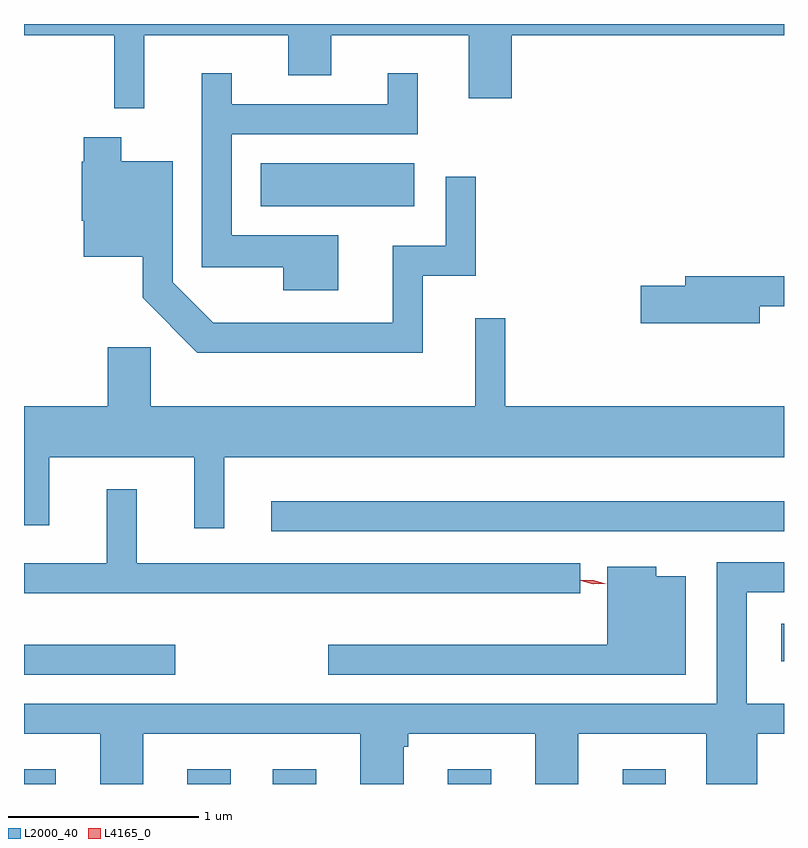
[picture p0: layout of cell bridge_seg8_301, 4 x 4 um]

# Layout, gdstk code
import gdstk
lib = gdstk.Library(unit=1e-6, precision=1e-09)
def R(c, l, rs):  # rectangles x0, y0, x1, y1
    for r in rs: c.add(gdstk.rectangle(r[:2], r[2:], *l))
def A(c, l, x, y, w, h, nx, ny, dx, dy):  # array of equal rectangles
    R(c, l, [(x+i*dx, y+j*dy, x+i*dx+w, y+j*dy+h) for i in range(nx) for j in range(ny)])
def P(c, l, *ps):  # polygons
    for p in ps: c.add(gdstk.Polygon(p, *l))
L2000_40 = (2000, 40)
L4165_0 = (4165, 0)

bridge_seg8_301 = lib.new_cell('bridge_seg8_301')
A(bridge_seg8_301, L2000_40, 1321.851, 1867.996, 0.228, 0.078, 3, 1, 0.92, 0)
R(bridge_seg8_301, L2000_40, [(1320.541,1867.996,1320.709,1868.074), (1321.401,1867.996,1321.629,1868.074), (1320.541,1868.571,1321.338,1868.729), (1324.526,1868.641,1324.541,1868.839), (1321.843,1869.326,1324.541,1869.484), (1321.786,1871.036,1322.594,1871.264)])
P(bridge_seg8_301, L2000_40, [(1321.174,1871.936),(1321.931,1871.936),(1321.931,1871.726),(1322.159,1871.726),(1322.159,1871.936),(1322.881,1871.936),(1322.881,1871.606),(1323.109,1871.606),(1323.109,1871.936),(1324.541,1871.936),(1324.541,1871.996),(1320.541,1871.996),(1320.541,1871.936),(1321.016,1871.936),(1321.016,1871.553),(1321.174,1871.553)],
  [(1322.194,1870.884),(1321.634,1870.884),(1321.634,1871.416),(1322.614,1871.416),(1322.614,1871.738),(1322.456,1871.738),(1322.456,1871.574),(1321.634,1871.574),(1321.634,1871.738),(1321.476,1871.738),(1321.476,1870.716),(1321.906,1870.716),(1321.906,1870.596),(1322.194,1870.596)],
  [(1322.639,1870.671),(1322.919,1870.671),(1322.919,1871.193),(1322.761,1871.193),(1322.761,1870.829),(1322.481,1870.829),(1322.481,1870.424),(1321.537,1870.424),(1321.324,1870.637),(1321.324,1871.274),(1321.054,1871.274),(1321.054,1871.399),(1320.856,1871.399),(1320.856,1871.27),(1320.846,1871.27),(1320.846,1870.96),(1320.856,1870.96),(1320.856,1870.771),(1321.166,1870.771),(1321.166,1870.554),(1321.454,1870.266),(1322.639,1870.266)],
  [(1324.414,1870.511),(1324.541,1870.511),(1324.541,1870.669),(1324.021,1870.669),(1324.021,1870.619),(1323.786,1870.619),(1323.786,1870.421),(1324.414,1870.421)],
  [(1321.436,1869.343),(1321.594,1869.343),(1321.594,1869.716),(1324.541,1869.716),(1324.541,1869.984),(1323.074,1869.984),(1323.074,1870.448),(1322.916,1870.448),(1322.916,1869.984),(1321.209,1869.984),(1321.209,1870.294),(1320.981,1870.294),(1320.981,1869.984),(1320.541,1869.984),(1320.541,1869.358),(1320.674,1869.358),(1320.674,1869.716),(1321.436,1869.716)],
  [(1323.468,1869.159),(1321.134,1869.159),(1321.134,1869.548),(1320.976,1869.548),(1320.976,1869.159),(1320.541,1869.159),(1320.541,1869.001),(1323.468,1869.001)],
  [(1321.169,1868.261),(1322.311,1868.261),(1322.311,1867.996),(1322.539,1867.996),(1322.539,1868.191),(1322.564,1868.191),(1322.564,1868.261),(1323.231,1868.261),(1323.231,1867.996),(1323.459,1867.996),(1323.459,1868.261),(1324.131,1868.261),(1324.131,1867.996),(1324.399,1867.996),(1324.399,1868.261),(1324.541,1868.261),(1324.541,1868.419),(1324.344,1868.419),(1324.344,1869.006),(1324.541,1869.006),(1324.541,1869.164),(1324.186,1869.164),(1324.186,1868.419),(1320.541,1868.419),(1320.541,1868.261),(1320.941,1868.261),(1320.941,1867.996),(1321.169,1867.996)],
  [(1324.024,1869.089),(1323.869,1869.089),(1323.869,1869.139),(1323.611,1869.139),(1323.611,1868.729),(1322.143,1868.729),(1322.143,1868.571),(1324.024,1868.571)])
P(bridge_seg8_301, L4165_0, [(1323.536,1869.048),(1323.472,1869.066),(1323.472,1869.067),(1323.472,1869.068),(1323.539,1869.068),(1323.603,1869.05),(1323.603,1869.05),(1323.603,1869.049)])

lib.write_gds('bridge_seg8_301.gds')
